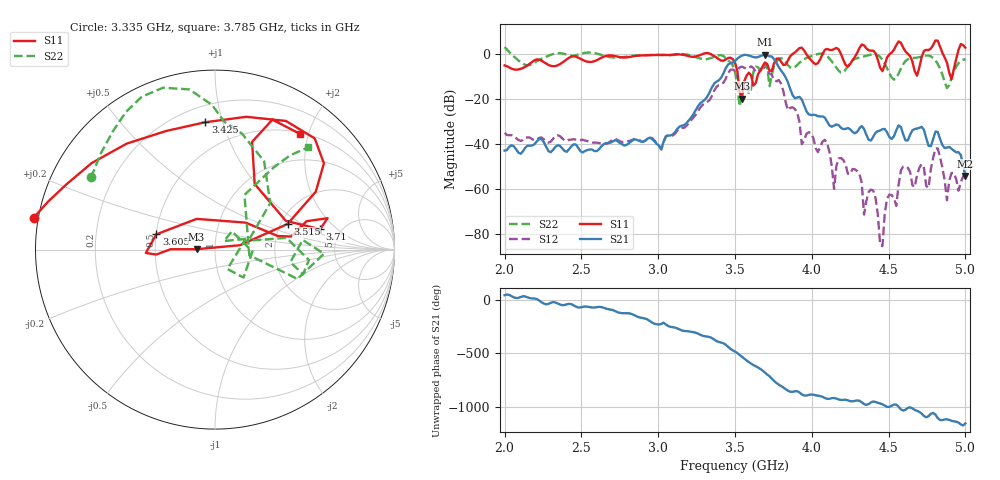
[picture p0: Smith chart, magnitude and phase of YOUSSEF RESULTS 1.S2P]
!Agilent Technologies,E5071C,MY46520292,B.13.20
!Date: Sun Dec 10 02:58:02 2023
!Data & Calibration Information:
!Freq	S11:SOLT2(ON)	S21:SOLT2(ON)	S12:SOLT2(ON)	S22:SOLT2(ON)
!PortZ  Port1:50+j0  Port2:50+j0
!Above PortZ is port z conversion or system Z0 setting when saving the data.
!When reading, reference impedance value at option line is always used.
# Hz S dB R 50
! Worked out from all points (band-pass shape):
!   201 points, 2 GHz to 5 GHz, reference 50 ohm
!   highest |S21| = -0.30 dB at 3.695 GHz (marker M1); lowest = -54.2 dB at 5 GHz (marker M2)
!   |S21| within 3 dB of the highest: 3.496 GHz to 3.763 GHz (267.4 MHz wide, 7.37 % of centre)
!   lowest |S11| = -19.8 dB at 3.545 GHz (marker M3), VSWR 1.23, Z = 40.7 + j0.173 ohm
!   |S11| at or under -10 dB: 3.519 GHz to 3.573 GHz (53.75 MHz wide, 1.52 % of centre); 3.607 GHz to 3.646 GHz (39.06 MHz wide, 1.08 % of centre); 4.903873 GHz to 4.913865 GHz (9.992 MHz wide, 0.204 % of centre)
!   |S22| runs from -23.2 to 3.1 dB; largest |S21 - S12| = 0.6
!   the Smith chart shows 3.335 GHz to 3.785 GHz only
!   S11 on the Smith chart (normalised r, x): 3.335 GHz: -0.01, +0.09; 3.425 GHz: 0.31, +0.88; 3.515 GHz: 2.17, +0.76; 3.605 GHz: 0.50, +0.10; 3.71 GHz: 3.49, +1.23; 3.785 GHz: 0.52, +1.86
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2e9  -5.04 61.1  -42.92 40.6  -35.03 75.3  3.13 88.9
2.51e9  -2.67 -11.4  -43.74 -67.3  -38.16 -57.8  0.40 -10.7
3.005e9  -0.37 -86.4  -40.76 127.8  -40.92 126.1  -0.38 -95.4
3.335e9  0.23 170.1  -16.97 11.3  -20.37 -2.8  -1.95 149.8
3.425e9  -2.95 94.3  -8.52 -46.5  -12.72 -65.1  -0.88 99.1
3.5e9  -3.78 29.9  -3.11 -123.2  -7.37 -146.9  -7.91 40.1
3.515e9  -7.36 19.4  -2.02 -137.2  -7.24 -155.8  -13.87 17.6
3.545e9  -19.79 178.8  -0.70 -170.5  -5.56 169.2  -17.16 47.1
3.605e9  -9.43 165.4  -0.96 124.0  -5.47 109.2  -15.36 16.3
3.695e9  -3.73 15.6  -0.30 40.8  -5.98 14.4  -4.33 -2.2
3.71e9  -4.49 11.0  -0.74 22.4  -7.45 -8.2  -6.25 -19.6
3.785e9  -1.94 53.7  -5.75 -70.7  -11.58 -87.0  -2.24 47.7
4.01e9  -3.84 -63.6  -26.97 -164.8  -37.40 141.0  -0.57 -67.0
4.325e9  4.27 -153.4  -32.00 125.2  -57.23 16.6  -1.32 -140.4
4.4e9  1.55 -124.4  -36.79 132.5  -60.78 83.5  -0.09 -120.8
4.505e9  -0.14 142.7  -36.95 82.2  -62.54 -165.8  -8.50 -132.1
4.565e9  5.65 175.8  -31.73 84.9  -58.21 -37.0  -8.70 168.4
4.64e9  -0.91 -157.0  -35.90 78.2  -52.34 139.6  -1.93 147.9
4.745e9  1.87 104.0  -37.33 -14.6  -58.70 30.1  -0.65 -172.0
4.805e9  6.07 152.0  -34.48 10.0  -42.08 140.5  -2.83 -168.6
4.88e9  -3.81 174.6  -41.59 -33.2  -65.04 60.3  -15.10 152.7
5e9  2.86 81.4  -54.23 -71.8  -54.15 83.4  -2.29 97.3
